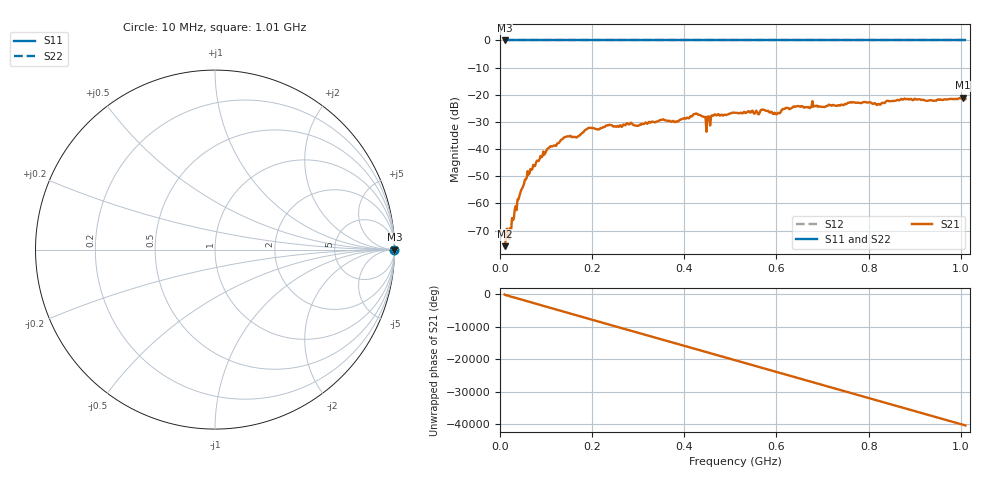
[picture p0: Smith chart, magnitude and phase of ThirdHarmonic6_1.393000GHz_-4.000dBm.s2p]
! 8/16/2025 3:52:59 PM
! C:\ANRITSUVNA\TEMP\TEMP.S2P
! CHANNEL.1
! TR.MEASUREMENT
! RAW.DATA
! RF.CORRECTION.OFF
! AVERAGING.OFF
! IF.BANDWIDTH: 5KHZ
! SWEEPTYPE:  FREQ.SWEEP(Linear)
! Reference Plane Port Info
! PORT:  PORT1  PORT2
! DISTANCE:  0  m  0  m
! TIME:  0  s  0  s
! PHASE.OFFSET:  0  deg.  0  deg.
! LOSS:  0  dB  0  dB
! REF.LOSS:  0  dB  0  dB
! REF.FREQ:  0  Hz  0  Hz
! Power Info
! POWER:  -20  dBm  -20  dBm
! EFF.POWER:  -20  dBm  -20  dBm
! SOURCE.ATTEN:  0  dB  0  dB
! TEST.ATTEN:  0  dB  0  dB
# GHZ S RI R 50.0
! FREQ.GHZ  S11RE  S11IM  S21RE  S21IM  S12RE  S12IM  S22RE  S22IM
!; PortSelection: Port_12
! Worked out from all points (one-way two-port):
!   501 points, 10 MHz to 1.01 GHz, reference 50 ohm
!   highest |S21| = -21.13 dB at 1.004 GHz (marker M1); lowest = -75.8 dB at 10 MHz (marker M2)
!   lowest |S11| = 0.0 dB at 10 MHz (marker M3)
!   |S11| at or under -10 dB: nowhere
!   |S22| runs from 0.0 to 0.0 dB; largest |S21 - S12| = 1.1
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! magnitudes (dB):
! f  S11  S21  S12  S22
! 10 MHz  0.0  -75.8  0.0  0.0
! 24 MHz  0.0  -70.5  0.0  0.0
! 42 MHz  0.0  -57.4  0.0  0.0
! 64 MHz  0.0  -48.9  0.0  0.0
! 106 MHz  0.0  -39.5  0.0  0.0
! 142 MHz  0.0  -35.5  0.0  0.0
! 178 MHz  0.0  -34.2  0.0  0.0
! 196 MHz  0.0  -32.1  0.0  0.0
! 344 MHz  0.0  -29.8  0.0  0.0
! 382 MHz  0.0  -29.9  0.0  0.0
! 424 MHz  0.0  -27.1  0.0  0.0
! 452 MHz  0.0  -28.0  0.0  0.0
! 462 MHz  0.0  -27.7  0.0  0.0
! 510 MHz  0.0  -26.6  0.0  0.0
! 570 MHz  0.0  -25.5  0.0  0.0
! 602 MHz  0.0  -26.8  0.0  0.0
! 620 MHz  0.0  -24.9  0.0  0.0
! 678 MHz  0.0  -22.3  0.0  0.0
! 822 MHz  0.0  -23.4  0.0  0.0
! 844 MHz  0.0  -22.4  0.0  0.0
! 1.004 GHz  0.0  -21.1  0.0  0.0
! 1.01 GHz  0.0  -21.6  0.0  0.0
